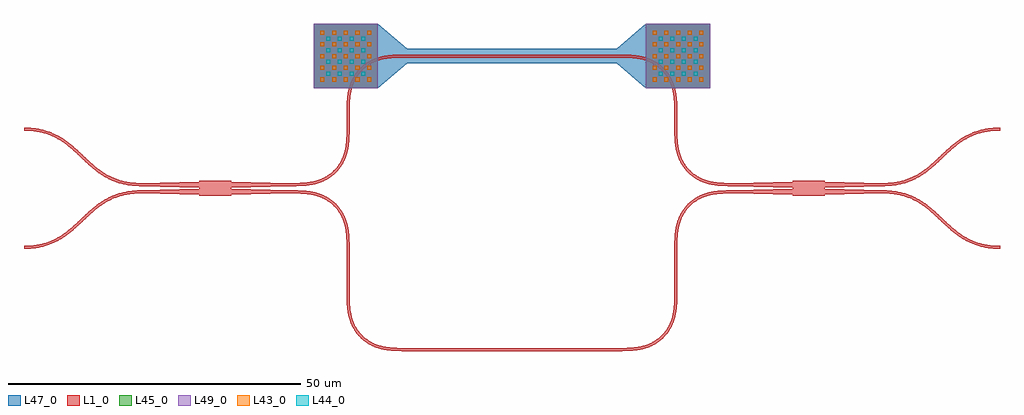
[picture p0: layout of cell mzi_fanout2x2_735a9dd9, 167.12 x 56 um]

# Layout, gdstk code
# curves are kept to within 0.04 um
from math import pi, radians
import gdstk
lib = gdstk.Library(unit=1e-6, precision=1e-09)
def R(c, l, rs):  # rectangles x0, y0, x1, y1
    for r in rs: c.add(gdstk.rectangle(r[:2], r[2:], *l))
def P(c, l, *ps):  # polygons
    for p in ps: c.add(gdstk.Polygon(p, *l))
L1_0 = (1, 0)
L43_0 = (43, 0)
L44_0 = (44, 0)
L45_0 = (45, 0)
L47_0 = (47, 0)
L49_0 = (49, 0)

mmi2x2 = lib.new_cell('mmi2x2')
R(mmi2x2, L1_0, [(0,-1.25,5.5,1.25)])
P(mmi2x2, L1_0, [(-10,-0.375),(0,-0.125),(0,-1.125),(-10,-0.875)],
  [(-10,0.875),(0,1.125),(0,0.125),(-10,0.375)],
  [(15.5,0.375),(5.5,0.125),(5.5,1.125),(15.5,0.875)],
  [(15.5,-0.875),(5.5,-1.125),(5.5,-0.125),(15.5,-0.375)])

bend_euler = lib.new_cell('bend_euler')
P(bend_euler, L1_0, [(0,-0.25),(2.794,-0.158),(3.916,0.003),(4.746,0.203),(5.688,0.543),(6.455,0.934),(7.284,1.499),(7.928,2.072),(8.501,2.716),(9.066,3.545),(9.457,4.312),(9.797,5.254),(9.997,6.084),(10.158,7.206),(10.25,10),(9.75,10),(9.725,8.208),(9.631,6.984),(9.451,5.916),(9.194,5.011),(8.566,3.683),(8.107,3.024),(7.574,2.426),(6.976,1.893),(6.317,1.434),(4.989,0.806),(4.084,0.549),(3.016,0.369),(1.792,0.275),(0,0.25)])

straight_length7p0 = lib.new_cell('straight_length7p0')
R(straight_length7p0, L1_0, [(0,-0.25,7,0.25)])

straight_length0p1 = lib.new_cell('straight_length0p1')
R(straight_length0p1, L1_0, [(0,-0.25,0.1,0.25)])

straight_length2p0 = lib.new_cell('straight_length2p0')
R(straight_length2p0, L1_0, [(0,-0.25,2,0.25)])

straight_add_pinsfalse_l = lib.new_cell('straight_add_pinsFalse_length0p1')
R(straight_add_pinsfalse_l, L1_0, [(0,-0.25,0.1,0.25)])

straight_6e0386c1 = lib.new_cell('straight_6e0386c1')
R(straight_6e0386c1, L1_0, [(0,-0.25,17.95,0.25)])
R(straight_6e0386c1, L47_0, [(0,-1.25,17.95,1.25)])

component_sequence_8c6f5 = lib.new_cell('component_sequence_8c6f5426')
component_sequence_8c6f5.add(gdstk.Reference(straight_add_pinsfalse_l, (0,0)))
component_sequence_8c6f5.add(gdstk.Reference(straight_6e0386c1, (0.1,0)))
component_sequence_8c6f5.add(gdstk.Reference(straight_6e0386c1, (18.05,0)))
component_sequence_8c6f5.add(gdstk.Reference(straight_add_pinsfalse_l, (36,0)))

compass_d8224c77 = lib.new_cell('compass_d8224c77')
R(compass_d8224c77, L47_0, [(-5.5,-5.5,5.5,5.5)])

compass_layerm2_size11p0 = lib.new_cell('compass_layerM2_size11p0__11p0')
R(compass_layerm2_size11p0, L45_0, [(-5.5,-5.5,5.5,5.5)])

compass_layermtop_size11 = lib.new_cell('compass_layerMTOP_size11p0__11p0')
R(compass_layermtop_size11, L49_0, [(-5.5,-5.5,5.5,5.5)])

via_enclosure2_layervia1 = lib.new_cell('via_enclosure2_layerVIA1')
R(via_enclosure2_layervia1, L44_0, [(-0.35,-0.35,0.35,0.35)])

via_layervia2 = lib.new_cell('via_layerVIA2')
R(via_layervia2, L43_0, [(-0.35,-0.35,0.35,0.35)])

via_stack_7bdb8e37 = lib.new_cell('via_stack_7bdb8e37')
via_stack_7bdb8e37.add(gdstk.Reference(compass_d8224c77, (0,0)))
via_stack_7bdb8e37.add(gdstk.Reference(compass_layerm2_size11p0, (0,0)))
via_stack_7bdb8e37.add(gdstk.Reference(compass_layermtop_size11, (0,0)))
r = gdstk.Reference(via_enclosure2_layervia1, (-3,-3)); r.repetition = gdstk.Repetition(4, 4, v1=(2,0), v2=(0,2)); via_stack_7bdb8e37.add(r)
r = gdstk.Reference(via_layervia2, (-4,-4)); r.repetition = gdstk.Repetition(5, 5, v1=(2,0), v2=(0,2)); via_stack_7bdb8e37.add(r)

taper_23f5216f = lib.new_cell('taper_23f5216f')
P(taper_23f5216f, L47_0, [(0,5.5),(5,1.25),(5,-1.25),(0,-5.5)])

straight_heater_metal_un = lib.new_cell('straight_heater_metal_undercut_7c702180')
straight_heater_metal_un.add(gdstk.Reference(component_sequence_8c6f5, (0,0)))
straight_heater_metal_un.add(gdstk.Reference(via_stack_7bdb8e37, (-10.4,0)))
straight_heater_metal_un.add(gdstk.Reference(via_stack_7bdb8e37, (46.5,0)))
straight_heater_metal_un.add(gdstk.Reference(taper_23f5216f, (-4.9,0)))
straight_heater_metal_un.add(gdstk.Reference(taper_23f5216f, (41,0), rotation=pi))

bend_euler_40ab4dd3 = lib.new_cell('bend_euler_40ab4dd3')
P(bend_euler_40ab4dd3, L1_0, [(0,-0.25),(2.794,-0.158),(3.916,0.003),(4.746,0.203),(5.688,0.543),(6.455,0.934),(7.284,1.499),(7.928,2.072),(8.501,2.716),(9.066,3.545),(9.457,4.312),(9.797,5.254),(9.997,6.084),(10.158,7.206),(10.25,10),(9.75,10),(9.725,8.208),(9.631,6.984),(9.451,5.916),(9.194,5.011),(8.566,3.683),(8.107,3.024),(7.574,2.426),(6.976,1.893),(6.317,1.434),(4.989,0.806),(4.084,0.549),(3.016,0.369),(1.792,0.275),(0,0.25)])

straight_e8b67d3c = lib.new_cell('straight_e8b67d3c')
R(straight_e8b67d3c, L1_0, [(0,-0.25,0.01,0.25)])

straight_299cef3a = lib.new_cell('straight_299cef3a')
R(straight_299cef3a, L1_0, [(0,-0.25,2,0.25)])

straight_840df451 = lib.new_cell('straight_840df451')
R(straight_840df451, L1_0, [(0,-0.25,36.01,0.25)])

straight_533918dc = lib.new_cell('straight_533918dc')
R(straight_533918dc, L1_0, [(0,-0.25,7,0.25)])

mzi_2e88f57c = lib.new_cell('mzi_2e88f57c')
mzi_2e88f57c.add(gdstk.Reference(mmi2x2, (0,0)))
mzi_2e88f57c.add(gdstk.Reference(mmi2x2, (107.12,0), rotation=pi, x_reflection=True))
mzi_2e88f57c.add(gdstk.Reference(bend_euler, (15.5,-0.625), x_reflection=True))
mzi_2e88f57c.add(gdstk.Reference(straight_length7p0, (25.5,-10.625), rotation=3*pi/2))
mzi_2e88f57c.add(gdstk.Reference(bend_euler, (25.5,-17.625), rotation=3*pi/2))
mzi_2e88f57c.add(gdstk.Reference(straight_length0p1, (35.5,-27.625)))
mzi_2e88f57c.add(gdstk.Reference(bend_euler, (15.5,0.625)))
mzi_2e88f57c.add(gdstk.Reference(straight_length2p0, (25.5,10.625), rotation=pi/2))
mzi_2e88f57c.add(gdstk.Reference(bend_euler, (35.5,22.625), rotation=pi))
mzi_2e88f57c.add(gdstk.Reference(straight_heater_metal_un, (35.5,22.625)))
mzi_2e88f57c.add(gdstk.Reference(bend_euler_40ab4dd3, (71.61,22.625), x_reflection=True))
mzi_2e88f57c.add(gdstk.Reference(bend_euler_40ab4dd3, (81.61,10.625), rotation=3*pi/2))
mzi_2e88f57c.add(gdstk.Reference(straight_e8b67d3c, (71.6,22.625)))
mzi_2e88f57c.add(gdstk.Reference(straight_299cef3a, (81.61,12.625), rotation=3*pi/2))
mzi_2e88f57c.add(gdstk.Reference(straight_e8b67d3c, (91.61,0.625)))
mzi_2e88f57c.add(gdstk.Reference(bend_euler_40ab4dd3, (71.61,-27.625)))
mzi_2e88f57c.add(gdstk.Reference(bend_euler_40ab4dd3, (81.61,-10.625), rotation=pi/2, x_reflection=True))
mzi_2e88f57c.add(gdstk.Reference(straight_840df451, (35.6,-27.625)))
mzi_2e88f57c.add(gdstk.Reference(straight_533918dc, (81.61,-17.625), rotation=pi/2))
mzi_2e88f57c.add(gdstk.Reference(straight_e8b67d3c, (91.61,-0.625)))

bezier_3be8b0b5 = lib.new_cell('bezier_3be8b0b5')
P(bezier_3be8b0b5, L1_0, [(0,-0.25),(1.453,-0.18),(2.771,0.021),(4.196,0.416),(5.472,0.953),(6.622,1.606),(7.837,2.481),(8.958,3.434),(12.154,6.369),(13.132,7.123),(14.004,7.692),(15.343,8.371),(16.859,8.88),(18.334,9.154),(20,9.25),(20,9.75),(18.547,9.68),(17.229,9.479),(15.804,9.084),(14.528,8.547),(13.378,7.894),(12.162,7.019),(11.042,6.066),(7.846,3.131),(6.868,2.377),(5.996,1.808),(4.657,1.129),(3.141,0.62),(1.666,0.346),(0,0.25)])

bend_s_7ce4e56f = lib.new_cell('bend_s_7ce4e56f')
bend_s_7ce4e56f.add(gdstk.Reference(bezier_3be8b0b5, (0,0)))

mzi_fanout2x2_735a9dd9 = lib.new_cell('mzi_fanout2x2_735a9dd9')
mzi_fanout2x2_735a9dd9.add(gdstk.Reference(mzi_2e88f57c, (0,-0.125)))
mzi_fanout2x2_735a9dd9.add(gdstk.Reference(bend_s_7ce4e56f, (117.12,0.5)))
mzi_fanout2x2_735a9dd9.add(gdstk.Reference(bend_s_7ce4e56f, (117.12,-0.75), x_reflection=True))
mzi_fanout2x2_735a9dd9.add(gdstk.Reference(bend_s_7ce4e56f, (-10,0.5), rotation=pi, x_reflection=True))
mzi_fanout2x2_735a9dd9.add(gdstk.Reference(bend_s_7ce4e56f, (-10,-0.75), rotation=pi))

lib.write_gds('mzi_fanout2x2_735a9dd9.gds')
